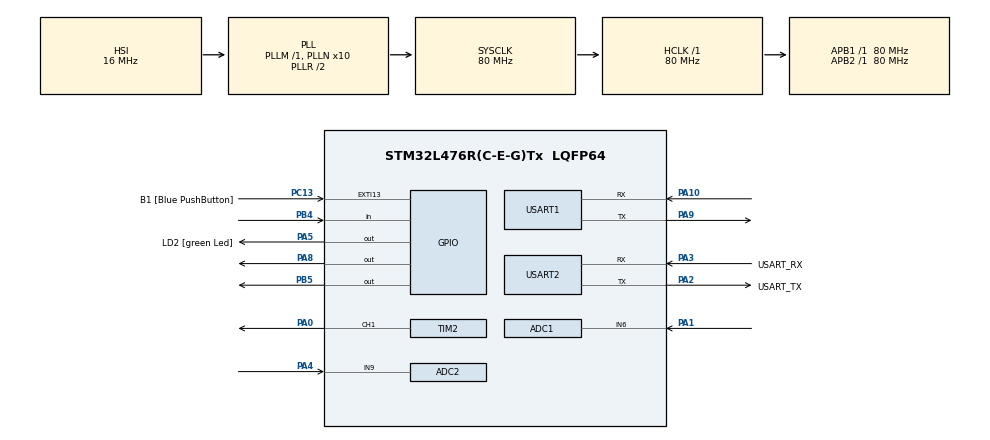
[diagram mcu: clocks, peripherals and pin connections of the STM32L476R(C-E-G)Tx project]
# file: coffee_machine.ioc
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ADC1.Channel-0\#ChannelRegularConversion=ADC_CHANNEL_6
ADC1.NbrOfConversionFlag=1
ADC1.OffsetNumber-0\#ChannelRegularConversion=ADC_OFFSET_NONE
ADC1.Rank-0\#ChannelRegularConversion=1
ADC1.SamplingTime-0\#ChannelRegularConversion=ADC_SAMPLETIME_2CYCLES_5
ADC1.master=1
ADC2.Channel-0\#ChannelRegularConversion=ADC_CHANNEL_9
ADC2.NbrOfConversionFlag=1
ADC2.OffsetNumber-0\#ChannelRegularConversion=ADC_OFFSET_NONE
ADC2.Rank-0\#ChannelRegularConversion=1
ADC2.SamplingTime-0\#ChannelRegularConversion=ADC_SAMPLETIME_2CYCLES_5
FREERTOS.Tasks01=defaultTask,0,128,StartDefaultTask,Default,NULL,Dynamic,NULL,NULL
FREERTOS.configUSE_NEWLIB_REENTRANT=1
Mcu.Family=STM32L4
Mcu.Name=STM32L476R(C-E-G)Tx
Mcu.Package=LQFP64
NVIC.ADC1_2_IRQn=true\:5\:0\:false\:false\:true\:true\:true\:true
NVIC.PriorityGroup=NVIC_PRIORITYGROUP_4
NVIC.TIM1_UP_TIM16_IRQn=true\:15\:0\:false\:false\:true\:false\:false\:true
NVIC.TIM3_IRQn=true\:5\:0\:false\:false\:true\:true\:true\:true
NVIC.TimeBase=TIM1_UP_TIM16_IRQn
NVIC.TimeBaseIP=TIM1
NVIC.USART1_IRQn=true\:5\:0\:false\:false\:true\:true\:true\:true
NVIC.USART2_IRQn=true\:5\:0\:false\:false\:true\:true\:true\:true
PA0.Signal=S_TIM2_CH1
PA1.Signal=ADCx_IN6
PA10.Mode=Asynchronous
PA10.Signal=USART1_RX
PA13\ (JTMS-SWDIO).GPIO_Label=TMS
PA13\ (JTMS-SWDIO).Mode=Serial_Wire
PA13\ (JTMS-SWDIO).Signal=SYS_JTMS-SWDIO
PA14\ (JTCK-SWCLK).GPIO_Label=TCK
PA14\ (JTCK-SWCLK).Mode=Serial_Wire
PA14\ (JTCK-SWCLK).Signal=SYS_JTCK-SWCLK
PA2.GPIO_Label=USART_TX
PA2.GPIO_Mode=GPIO_MODE_AF_PP
PA2.GPIO_PuPd=GPIO_NOPULL
PA2.GPIO_Speed=GPIO_SPEED_FREQ_VERY_HIGH
PA2.Mode=Asynchronous
PA2.Signal=USART2_TX
PA3.GPIO_Label=USART_RX
PA3.GPIO_Mode=GPIO_MODE_AF_PP
PA3.GPIO_PuPd=GPIO_NOPULL
PA3.GPIO_Speed=GPIO_SPEED_FREQ_VERY_HIGH
PA3.Mode=Asynchronous
PA3.Signal=USART2_RX
PA4.Signal=ADCx_IN9
PA5.GPIO_Label=LD2 [green Led]
PA5.GPIO_ModeDefaultOutputPP=GPIO_MODE_OUTPUT_PP
PA5.GPIO_PuPd=GPIO_NOPULL
PA5.GPIO_Speed=GPIO_SPEED_FREQ_LOW
PA5.Signal=GPIO_Output
PA8.Signal=GPIO_Output
PA9.Mode=Asynchronous
PA9.Signal=USART1_TX
PB3\ (JTDO-TRACESWO).GPIO_Label=SWO
PB3\ (JTDO-TRACESWO).Signal=SYS_JTDO-SWO
PB4\ (NJTRST).Signal=GPIO_Input
PB5.Signal=GPIO_Output
PC13.GPIO_Label=B1 [Blue PushButton]
PC13.GPIO_ModeDefaultEXTI=GPIO_MODE_IT_FALLING
PC13.GPIO_PuPd=GPIO_NOPULL
PC13.Signal=GPXTI13
PC14-OSC32_IN\ (PC14).Mode=LSE-External-Oscillator
PC14-OSC32_IN\ (PC14).Signal=RCC_OSC32_IN
PC15-OSC32_OUT\ (PC15).Mode=LSE-External-Oscillator
PC15-OSC32_OUT\ (PC15).Signal=RCC_OSC32_OUT
PH0-OSC_IN\ (PH0).Signal=RCC_OSC_IN
PH1-OSC_OUT\ (PH1).Signal=RCC_OSC_OUT
ProjectManager.HeapSize=0x200
ProjectManager.StackSize=0x400
ProjectManager.TargetToolchain=STM32CubeIDE
RCC.ADCFreq_Value=64000000
RCC.AHBFreq_Value=80000000
RCC.APB1Freq_Value=80000000
RCC.APB1TimFreq_Value=80000000
RCC.APB2Freq_Value=80000000
RCC.APB2TimFreq_Value=80000000
RCC.CortexFreq_Value=80000000
RCC.HCLKFreq_Value=80000000
RCC.HSE_VALUE=8000000
RCC.HSI_VALUE=16000000
RCC.MSI_VALUE=4000000
RCC.PLLN=10
RCC.PLLSourceVirtual=RCC_PLLSOURCE_HSI
RCC.PREFETCH_ENABLE=1
RCC.SYSCLKFreq_VALUE=80000000
RCC.SYSCLKSource=RCC_SYSCLKSOURCE_PLLCLK
RCC.USBFreq_Value=64000000
RCC.VCOOutputFreq_Value=160000000
SH.ADCx_IN6.0=ADC1_IN6,IN6-Single-Ended
SH.ADCx_IN9.0=ADC2_IN9,IN9-Single-Ended
SH.S_TIM2_CH1.0=TIM2_CH1,PWM Generation1 CH1
TIM2.Channel-PWM\ Generation1\ CH1=TIM_CHANNEL_1
TIM2.Period=2000-1
TIM2.Prescaler=127-1
TIM3.Period=20000-1
TIM3.Prescaler=400-1
USART1.VirtualMode-Asynchronous=VM_ASYNC
USART2.VirtualMode-Asynchronous=VM_ASYNC
VP_FREERTOS_VS_CMSIS_V1.Mode=CMSIS_V1
VP_SYS_VS_tim1.Mode=TIM1
VP_TIM2_VS_ClockSourceINT.Mode=Internal
VP_TIM3_VS_ClockSourceINT.Mode=Internal
board=NUCLEO-L476RG

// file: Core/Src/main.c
/* USER CODE BEGIN Header */
/**
  ******************************************************************************
  * @file           : main.c
  * @brief          : Main program body
  ******************************************************************************
  * @attention
  *
  * <h2><center>&copy; Copyright (c) 2022 STMicroelectronics.
  * All rights reserved.</center></h2>
  *
  * This software component is licensed by ST under BSD 3-Clause license,
  * the "License"; You may not use this file except in compliance with the
  * License. You may obtain a copy of the License at:
  *                        opensource.org/licenses/BSD-3-Clause
  *
  ******************************************************************************
  */
/* USER CODE END Header */
#include "main.h"
#include "cmsis_os.h"

/* USER CODE BEGIN PD */
#define TX_QUEUE_SIZE 128
#define RX_QUEUE_SIZE 5
#define USART_1 1
#define USART_2 2
#define MAX_TEMPERATURE 100
#define MAX_INTENSITY 1200
#define EXP_CONST 0.3
#define MAX_VOLTAGE 4095
/* USER CODE END PD */

ADC_HandleTypeDef hadc1;
ADC_HandleTypeDef hadc2;

TIM_HandleTypeDef htim2;
TIM_HandleTypeDef htim3;

osThreadId defaultTaskHandle;
/* USER CODE BEGIN PV */
QueueHandle_t tx_queue_1;
QueueHandle_t rx_queue_1;
QueueHandle_t tx_queue_2;
QueueHandle_t rx_queue_2;
SemaphoreHandle_t uart_1_mutex = NULL;
SemaphoreHandle_t uart_2_mutex = NULL;
/* USER CODE END PV */

void SystemClock_Config(void);
void PeriphCommonClock_Config(void);
static void MX_GPIO_Init(void);
static void MX_USART2_UART_Init(void);
static void MX_USART1_UART_Init(void);
static void MX_TIM2_Init(void);
static void MX_TIM3_Init(void);
static void MX_ADC1_Init(void);
static void MX_ADC2_Init(void);
void StartDefaultTask(void const * argument);

/* USER CODE BEGIN PFP */
void user_pwm_setvalue(uint16_t value);
/* USER CODE END PFP */

/* USER CODE BEGIN 0 */
//Rotina de trtaamento da ISR da UART 1
void USART_1_IRQHandler(void) {
	//Se for interrupcao de transmissao
	if (LL_USART_IsActiveFlag_TXE(USART1)) {
		BaseType_t contextSwitch;
		while (LL_USART_IsActiveFlag_TXE(USART1)) {
			uint8_t byte;
			//Desinfileira um byte para tranmistir
			if (xQueueReceiveFromISR(tx_queue_1, &byte,
					&contextSwitch) == pdFAIL) {
				//Se a fila de transmissao esta vazia, encerra a transmissao
				LL_USART_DisableIT_TXE(USART1);
				break;
			}
			//Envia o byte retirado da fila de transmisao
			LL_USART_TransmitData8(USART1, byte);
		}
		portYIELD_FROM_ISR(contextSwitch);
	}
	//Se for interrupcao de recepcao
	if (LL_USART_IsActiveFlag_RXNE(USART1)) {
		BaseType_t contextSwitch;
		while (LL_USART_IsActiveFlag_RXNE(USART1)) {
			//Copia o byte do regstrador de recepcao
			uint8_t byte = LL_USART_ReceiveData8(USART1);
			//Enfileira o byte recebido na fila de recepcao
			xQueueSendFromISR(rx_queue_1, &byte, &contextSwitch);
			// xQueueSendFromISR can return errQUEUE_FULL
		}
		portYIELD_FROM_ISR(contextSwitch);
	}
}

//Rotina de tratamento de interrupcao da USART2
void USART_2_IRQHandler(void) {
	//Se for interrupcao de transmissao
	if (LL_USART_IsActiveFlag_TXE(USART2)) {
		BaseType_t contextSwitch;
		while (LL_USART_IsActiveFlag_TXE(USART2)) {
			uint8_t byte;
			//Desinfileira um byte para tranmistir
			if (xQueueReceiveFromISR(tx_queue_2, &byte,
					&contextSwitch) == pdFAIL) {
				//Se a fila de transmissao esta vazia, encerra a transmissao
				LL_USART_DisableIT_TXE(USART2);
				break;
			}
			//Envia o byte retirado da fila de transmisao
			LL_USART_TransmitData8(USART2, byte);
		}
		portYIELD_FROM_ISR(contextSwitch);
	}
	//Se for interrupcao de recepcao
	if (LL_USART_IsActiveFlag_RXNE(USART2)) {
		BaseType_t contextSwitch;
		while (LL_USART_IsActiveFlag_RXNE(USART2)) {
			//Copia o byte do regstrador de recepcao
			uint8_t byte = LL_USART_ReceiveData8(USART2);
			//Enfileira o byte recebido na fila de recepcao
			xQueueSendFromISR(rx_queue_2, &byte, &contextSwitch);
			// xQueueSendFromISR can return errQUEUE_FULL
		}
		portYIELD_FROM_ISR(contextSwitch);
	}
}

void sendchar(char c, char usart) {
	if (usart == USART_1) {
		xQueueSend(tx_queue_1, &c, HAL_MAX_DELAY);
		LL_USART_EnableIT_TXE(USART1);
	} else if (usart == USART_2) {
		xQueueSend(tx_queue_2, &c, HAL_MAX_DELAY);
		LL_USART_EnableIT_TXE(USART2);
	}
}
void sendString(char *str, char usart) {
	while (*str != 0) {
		sendchar(*str, usart);
		str++;
	}
}

char readchar(char usart) {
	uint8_t caracter = 0;
	if (usart == USART_1)
		xQueueReceive(rx_queue_1, &caracter, HAL_MAX_DELAY);
	else if (usart == USART_2)
		xQueueReceive(rx_queue_2, &caracter, HAL_MAX_DELAY);
	return caracter;
}

int16_t readVoltageLdr(void) {
	HAL_ADC_Start(&hadc1);
	HAL_ADC_PollForConversion(&hadc1, HAL_MAX_DELAY);
	return HAL_ADC_GetValue(&hadc1);
}

int16_t readVoltagePotenciometro(void) {
	HAL_ADC_Start(&hadc2);
	HAL_ADC_PollForConversion(&hadc2, HAL_MAX_DELAY);
	return HAL_ADC_GetValue(&hadc2);
}

void piscarLed (void) {
	HAL_TIM_Base_Start_IT(&htim3);
	HAL_Delay(10000);
	HAL_TIM_Base_Stop_IT(&htim3);
	HAL_GPIO_WritePin(GPIOB, GPIO_PIN_5, GPIO_PIN_RESET);
}

void ldr(void *vParam) {
	while (1) {
		int intensity = readVoltageLdr() * MAX_INTENSITY / MAX_VOLTAGE;
		intensity = MAX_INTENSITY - (pow(intensity, EXP_CONST) / pow(MAX_INTENSITY, EXP_CONST - 1));
//		int intensity = MAX_INTENSITY - (readVoltageLdr() * MAX_INTENSITY / MAX_VOLTAGE);
		user_pwm_setvalue(intensity);
		vTaskDelay(100);
	}
}

void potenciometro(void *vParam) {
	while (1) {
		char str[8];
		if (!HAL_GPIO_ReadPin(GPIOB, GPIO_PIN_4)) {
			int temperature = MAX_TEMPERATURE - (readVoltagePotenciometro() * MAX_TEMPERATURE / MAX_VOLTAGE);
			sprintf(str, "%d\r\n", temperature);
			sendString(str, USART_1);
			sendString(str, USART_2);
			if (temperature >= 75) {
				// Pisca luz por 3 segundos
				piscarLed();
			} else {
				// Liga luz por 2 segundos
				HAL_GPIO_WritePin(GPIOA, GPIO_PIN_8, GPIO_PIN_SET);
				vTaskDelay(2000);
				HAL_GPIO_WritePin(GPIOA, GPIO_PIN_8, GPIO_PIN_RESET);
			}
		}
	}
}

//void cli(void *vParam) {
//	uint8_t ch;
//	while (1) {
//		ch = readchar(USART_1);
//	}
//}
/* USER CODE END 0 */

int main(void)
{

  /* MCU Configuration--------------------------------------------------------*/

  /* Reset of all peripherals, Initializes the Flash interface and the Systick. */
  HAL_Init();

  /* Configure the system clock */
  SystemClock_Config();

/* Configure the peripherals common clocks */
  PeriphCommonClock_Config();

  /* Initialize all configured peripherals */
  MX_GPIO_Init();
  MX_USART2_UART_Init();
  MX_USART1_UART_Init();
  MX_TIM2_Init();
  MX_TIM3_Init();
  MX_ADC1_Init();
  MX_ADC2_Init();
  /* USER CODE BEGIN 2 */
  uart_1_mutex = xSemaphoreCreateMutex();
  uart_2_mutex = xSemaphoreCreateMutex();
  /* USER CODE END 2 */

  /* Create the thread(s) */
  /* definition and creation of defaultTask */
  osThreadDef(defaultTask, StartDefaultTask, osPriorityNormal, 0, 128);
  defaultTaskHandle = osThreadCreate(osThread(defaultTask), NULL);

  /* USER CODE BEGIN RTOS_THREADS */
  /* add threads, ... */
  //xTaskCreate(cli, "cli", configMINIMAL_STACK_SIZE, NULL, 1 , NULL);
  xTaskCreate(potenciometro, "potenciometro", configMINIMAL_STACK_SIZE, NULL, 1 , NULL);
  xTaskCreate(ldr, "ldr", configMINIMAL_STACK_SIZE, NULL, 1 , NULL);
  /* USER CODE END RTOS_THREADS */

  /* Start scheduler */
  osKernelStart();

  /* We should never get here as control is now taken by the scheduler */
  /* Infinite loop */
  while (1)
  {

  }
}

void SystemClock_Config(void)
{
  RCC_OscInitTypeDef RCC_OscInitStruct = {0};
  RCC_ClkInitTypeDef RCC_ClkInitStruct = {0};

  /** Configure the main internal regulator output voltage
  */
  if (HAL_PWREx_ControlVoltageScaling(PWR_REGULATOR_VOLTAGE_SCALE1) != HAL_OK)
  {
    Error_Handler();
  }
  /** Initializes the RCC Oscillators according to the specified parameters
  * in the RCC_OscInitTypeDef structure.
  */
  RCC_OscInitStruct.OscillatorType = RCC_OSCILLATORTYPE_HSI;
  RCC_OscInitStruct.HSIState = RCC_HSI_ON;
  RCC_OscInitStruct.HSICalibrationValue = RCC_HSICALIBRATION_DEFAULT;
  RCC_OscInitStruct.PLL.PLLState = RCC_PLL_ON;
  RCC_OscInitStruct.PLL.PLLSource = RCC_PLLSOURCE_HSI;
  RCC_OscInitStruct.PLL.PLLM = 1;
  RCC_OscInitStruct.PLL.PLLN = 10;
  RCC_OscInitStruct.PLL.PLLP = RCC_PLLP_DIV7;
  RCC_OscInitStruct.PLL.PLLQ = RCC_PLLQ_DIV2;
  RCC_OscInitStruct.PLL.PLLR = RCC_PLLR_DIV2;
  if (HAL_RCC_OscConfig(&RCC_OscInitStruct) != HAL_OK)
  {
    Error_Handler();
  }
  /** Initializes the CPU, AHB and APB buses clocks
  */
  RCC_ClkInitStruct.ClockType = RCC_CLOCKTYPE_HCLK|RCC_CLOCKTYPE_SYSCLK
                              |RCC_CLOCKTYPE_PCLK1|RCC_CLOCKTYPE_PCLK2;
  RCC_ClkInitStruct.SYSCLKSource = RCC_SYSCLKSOURCE_PLLCLK;
  RCC_ClkInitStruct.AHBCLKDivider = RCC_SYSCLK_DIV1;
  RCC_ClkInitStruct.APB1CLKDivider = RCC_HCLK_DIV1;
  RCC_ClkInitStruct.APB2CLKDivider = RCC_HCLK_DIV1;

  if (HAL_RCC_ClockConfig(&RCC_ClkInitStruct, FLASH_LATENCY_4) != HAL_OK)
  {
    Error_Handler();
  }
}

void PeriphCommonClock_Config(void)
{
  RCC_PeriphCLKInitTypeDef PeriphClkInit = {0};

  /** Initializes the peripherals clock
  */
  PeriphClkInit.PeriphClockSelection = RCC_PERIPHCLK_ADC;
  PeriphClkInit.AdcClockSelection = RCC_ADCCLKSOURCE_PLLSAI1;
  PeriphClkInit.PLLSAI1.PLLSAI1Source = RCC_PLLSOURCE_HSI;
  PeriphClkInit.PLLSAI1.PLLSAI1M = 1;
  PeriphClkInit.PLLSAI1.PLLSAI1N = 8;
  PeriphClkInit.PLLSAI1.PLLSAI1P = RCC_PLLP_DIV7;
  PeriphClkInit.PLLSAI1.PLLSAI1Q = RCC_PLLQ_DIV2;
  PeriphClkInit.PLLSAI1.PLLSAI1R = RCC_PLLR_DIV2;
  PeriphClkInit.PLLSAI1.PLLSAI1ClockOut = RCC_PLLSAI1_ADC1CLK;
  if (HAL_RCCEx_PeriphCLKConfig(&PeriphClkInit) != HAL_OK)
  {
    Error_Handler();
  }
}

static void MX_ADC1_Init(void)
{

  ADC_MultiModeTypeDef multimode = {0};
  ADC_ChannelConfTypeDef sConfig = {0};

  /** Common config
  */
  hadc1.Instance = ADC1;
  hadc1.Init.ClockPrescaler = ADC_CLOCK_ASYNC_DIV1;
  hadc1.Init.Resolution = ADC_RESOLUTION_12B;
  hadc1.Init.DataAlign = ADC_DATAALIGN_RIGHT;
  hadc1.Init.ScanConvMode = ADC_SCAN_DISABLE;
  hadc1.Init.EOCSelection = ADC_EOC_SINGLE_CONV;
  hadc1.Init.LowPowerAutoWait = DISABLE;
  hadc1.Init.ContinuousConvMode = DISABLE;
  hadc1.Init.NbrOfConversion = 1;
  hadc1.Init.DiscontinuousConvMode = DISABLE;
  hadc1.Init.ExternalTrigConv = ADC_SOFTWARE_START;
  hadc1.Init.ExternalTrigConvEdge = ADC_EXTERNALTRIGCONVEDGE_NONE;
  hadc1.Init.DMAContinuousRequests = DISABLE;
  hadc1.Init.Overrun = ADC_OVR_DATA_PRESERVED;
  hadc1.Init.OversamplingMode = DISABLE;
  if (HAL_ADC_Init(&hadc1) != HAL_OK)
  {
    Error_Handler();
  }
  /** Configure the ADC multi-mode
  */
  multimode.Mode = ADC_MODE_INDEPENDENT;
  if (HAL_ADCEx_MultiModeConfigChannel(&hadc1, &multimode) != HAL_OK)
  {
    Error_Handler();
  }
  /** Configure Regular Channel
  */
  sConfig.Channel = ADC_CHANNEL_6;
  sConfig.Rank = ADC_REGULAR_RANK_1;
  sConfig.SamplingTime = ADC_SAMPLETIME_2CYCLES_5;
  sConfig.SingleDiff = ADC_SINGLE_ENDED;
  sConfig.OffsetNumber = ADC_OFFSET_NONE;
  sConfig.Offset = 0;
  if (HAL_ADC_ConfigChannel(&hadc1, &sConfig) != HAL_OK)
  {
    Error_Handler();
  }

}

static void MX_ADC2_Init(void)
{

  ADC_ChannelConfTypeDef sConfig = {0};

  /** Common config
  */
  hadc2.Instance = ADC2;
  hadc2.Init.ClockPrescaler = ADC_CLOCK_ASYNC_DIV1;
  hadc2.Init.Resolution = ADC_RESOLUTION_12B;
  hadc2.Init.DataAlign = ADC_DATAALIGN_RIGHT;
  hadc2.Init.ScanConvMode = ADC_SCAN_DISABLE;
  hadc2.Init.EOCSelection = ADC_EOC_SINGLE_CONV;
  hadc2.Init.LowPowerAutoWait = DISABLE;
  hadc2.Init.ContinuousConvMode = DISABLE;
  hadc2.Init.NbrOfConversion = 1;
  hadc2.Init.DiscontinuousConvMode = DISABLE;
  hadc2.Init.ExternalTrigConv = ADC_SOFTWARE_START;
  hadc2.Init.ExternalTrigConvEdge = ADC_EXTERNALTRIGCONVEDGE_NONE;
  hadc2.Init.DMAContinuousRequests = DISABLE;
  hadc2.Init.Overrun = ADC_OVR_DATA_PRESERVED;
  hadc2.Init.OversamplingMode = DISABLE;
  if (HAL_ADC_Init(&hadc2) != HAL_OK)
  {
    Error_Handler();
  }
  /** Configure Regular Channel
  */
  sConfig.Channel = ADC_CHANNEL_9;
  sConfig.Rank = ADC_REGULAR_RANK_1;
  sConfig.SamplingTime = ADC_SAMPLETIME_2CYCLES_5;
  sConfig.SingleDiff = ADC_SINGLE_ENDED;
  sConfig.OffsetNumber = ADC_OFFSET_NONE;
  sConfig.Offset = 0;
  if (HAL_ADC_ConfigChannel(&hadc2, &sConfig) != HAL_OK)
  {
    Error_Handler();
  }

}

static void MX_TIM2_Init(void)
{

  TIM_ClockConfigTypeDef sClockSourceConfig = {0};
  TIM_MasterConfigTypeDef sMasterConfig = {0};
  TIM_OC_InitTypeDef sConfigOC = {0};

  htim2.Instance = TIM2;
  htim2.Init.Prescaler = 127-1;
  htim2.Init.CounterMode = TIM_COUNTERMODE_UP;
  htim2.Init.Period = 2000-1;
  htim2.Init.ClockDivision = TIM_CLOCKDIVISION_DIV1;
  htim2.Init.AutoReloadPreload = TIM_AUTORELOAD_PRELOAD_DISABLE;
  if (HAL_TIM_Base_Init(&htim2) != HAL_OK)
  {
    Error_Handler();
  }
  sClockSourceConfig.ClockSource = TIM_CLOCKSOURCE_INTERNAL;
  if (HAL_TIM_ConfigClockSource(&htim2, &sClockSourceConfig) != HAL_OK)
  {
    Error_Handler();
  }
  if (HAL_TIM_PWM_Init(&htim2) != HAL_OK)
  {
    Error_Handler();
  }
  sMasterConfig.MasterOutputTrigger = TIM_TRGO_RESET;
  sMasterConfig.MasterSlaveMode = TIM_MASTERSLAVEMODE_DISABLE;
  if (HAL_TIMEx_MasterConfigSynchronization(&htim2, &sMasterConfig) != HAL_OK)
  {
    Error_Handler();
  }
  sConfigOC.OCMode = TIM_OCMODE_PWM1;
  sConfigOC.Pulse = 0;
  sConfigOC.OCPolarity = TIM_OCPOLARITY_HIGH;
  sConfigOC.OCFastMode = TIM_OCFAST_DISABLE;
  if (HAL_TIM_PWM_ConfigChannel(&htim2, &sConfigOC, TIM_CHANNEL_1) != HAL_OK)
  {
    Error_Handler();
  }
  HAL_TIM_MspPostInit(&htim2);

}

static void MX_TIM3_Init(void)
{

  TIM_ClockConfigTypeDef sClockSourceConfig = {0};
  TIM_MasterConfigTypeDef sMasterConfig = {0};

  htim3.Instance = TIM3;
  htim3.Init.Prescaler = 400-1;
  htim3.Init.CounterMode = TIM_COUNTERMODE_UP;
  htim3.Init.Period = 20000-1;
  htim3.Init.ClockDivision = TIM_CLOCKDIVISION_DIV1;
  htim3.Init.AutoReloadPreload = TIM_AUTORELOAD_PRELOAD_DISABLE;
  if (HAL_TIM_Base_Init(&htim3) != HAL_OK)
  {
    Error_Handler();
  }
  sClockSourceConfig.ClockSource = TIM_CLOCKSOURCE_INTERNAL;
  if (HAL_TIM_ConfigClockSource(&htim3, &sClockSourceConfig) != HAL_OK)
  {
    Error_Handler();
  }
  sMasterConfig.MasterOutputTrigger = TIM_TRGO_RESET;
  sMasterConfig.MasterSlaveMode = TIM_MASTERSLAVEMODE_DISABLE;
  if (HAL_TIMEx_MasterConfigSynchronization(&htim3, &sMasterConfig) != HAL_OK)
  {
    Error_Handler();
  }

}

static void MX_USART1_UART_Init(void)
{

  LL_USART_InitTypeDef USART_InitStruct = {0};

  LL_GPIO_InitTypeDef GPIO_InitStruct = {0};
  RCC_PeriphCLKInitTypeDef PeriphClkInit = {0};

  /** Initializes the peripherals clock
  */
  PeriphClkInit.PeriphClockSelection = RCC_PERIPHCLK_USART1;
  PeriphClkInit.Usart1ClockSelection = RCC_USART1CLKSOURCE_PCLK2;
  if (HAL_RCCEx_PeriphCLKConfig(&PeriphClkInit) != HAL_OK)
  {
    Error_Handler();
  }

  /* Peripheral clock enable */
  LL_APB2_GRP1_EnableClock(LL_APB2_GRP1_PERIPH_USART1);

  LL_AHB2_GRP1_EnableClock(LL_AHB2_GRP1_PERIPH_GPIOA);
  /**USART1 GPIO Configuration
  PA9   ------> USART1_TX
  PA10   ------> USART1_RX
  */
  GPIO_InitStruct.Pin = LL_GPIO_PIN_9|LL_GPIO_PIN_10;
  GPIO_InitStruct.Mode = LL_GPIO_MODE_ALTERNATE;
  GPIO_InitStruct.Speed = LL_GPIO_SPEED_FREQ_VERY_HIGH;
  GPIO_InitStruct.OutputType = LL_GPIO_OUTPUT_PUSHPULL;
  GPIO_InitStruct.Pull = LL_GPIO_PULL_NO;
  GPIO_InitStruct.Alternate = LL_GPIO_AF_7;
  LL_GPIO_Init(GPIOA, &GPIO_InitStruct);

  /* USART1 interrupt Init */
  NVIC_SetPriority(USART1_IRQn, NVIC_EncodePriority(NVIC_GetPriorityGrouping(),5, 0));
  NVIC_EnableIRQ(USART1_IRQn);

  USART_InitStruct.BaudRate = 115200;
  USART_InitStruct.DataWidth = LL_USART_DATAWIDTH_8B;
  USART_InitStruct.StopBits = LL_USART_STOPBITS_1;
  USART_InitStruct.Parity = LL_USART_PARITY_NONE;
  USART_InitStruct.TransferDirection = LL_USART_DIRECTION_TX_RX;
  USART_InitStruct.HardwareFlowControl = LL_USART_HWCONTROL_NONE;
  USART_InitStruct.OverSampling = LL_USART_OVERSAMPLING_16;
  LL_USART_Init(USART1, &USART_InitStruct);
  LL_USART_ConfigAsyncMode(USART1);
  LL_USART_Enable(USART1);
  /* USER CODE BEGIN USART1_Init 2 */
  //Inicializa as filas de transmissao e recepcao
	tx_queue_1 = xQueueCreate(TX_QUEUE_SIZE, sizeof(uint8_t));
	rx_queue_1 = xQueueCreate(RX_QUEUE_SIZE, sizeof(uint8_t));
	//Habilita a interrupcao de recepcao pela USART2
	LL_USART_EnableIT_RXNE(USART1);
  /* USER CODE END USART1_Init 2 */

}

static void MX_USART2_UART_Init(void)
{

  LL_USART_InitTypeDef USART_InitStruct = {0};

  LL_GPIO_InitTypeDef GPIO_InitStruct = {0};
  RCC_PeriphCLKInitTypeDef PeriphClkInit = {0};

  /** Initializes the peripherals clock
  */
  PeriphClkInit.PeriphClockSelection = RCC_PERIPHCLK_USART2;
  PeriphClkInit.Usart2ClockSelection = RCC_USART2CLKSOURCE_PCLK1;
  if (HAL_RCCEx_PeriphCLKConfig(&PeriphClkInit) != HAL_OK)
  {
    Error_Handler();
  }

  /* Peripheral clock enable */
  LL_APB1_GRP1_EnableClock(LL_APB1_GRP1_PERIPH_USART2);

  LL_AHB2_GRP1_EnableClock(LL_AHB2_GRP1_PERIPH_GPIOA);
  /**USART2 GPIO Configuration
  PA2   ------> USART2_TX
  PA3   ------> USART2_RX
  */
  GPIO_InitStruct.Pin = LL_GPIO_PIN_2|LL_GPIO_PIN_3;
  GPIO_InitStruct.Mode = LL_GPIO_MODE_ALTERNATE;
  GPIO_InitStruct.Speed = LL_GPIO_SPEED_FREQ_VERY_HIGH;
  GPIO_InitStruct.OutputType = LL_GPIO_OUTPUT_PUSHPULL;
  GPIO_InitStruct.Pull = LL_GPIO_PULL_NO;
  GPIO_InitStruct.Alternate = LL_GPIO_AF_7;
  LL_GPIO_Init(GPIOA, &GPIO_InitStruct);

  /* USART2 interrupt Init */
  NVIC_SetPriority(USART2_IRQn, NVIC_EncodePriority(NVIC_GetPriorityGrouping(),5, 0));
  NVIC_EnableIRQ(USART2_IRQn);

  USART_InitStruct.BaudRate = 115200;
  USART_InitStruct.DataWidth = LL_USART_DATAWIDTH_8B;
  USART_InitStruct.StopBits = LL_USART_STOPBITS_1;
  USART_InitStruct.Parity = LL_USART_PARITY_NONE;
  USART_InitStruct.TransferDirection = LL_USART_DIRECTION_TX_RX;
  USART_InitStruct.HardwareFlowControl = LL_USART_HWCONTROL_NONE;
  USART_InitStruct.OverSampling = LL_USART_OVERSAMPLING_16;
  LL_USART_Init(USART2, &USART_InitStruct);
  LL_USART_ConfigAsyncMode(USART2);
  LL_USART_Enable(USART2);
  /* USER CODE BEGIN USART2_Init 2 */
  //Inicializa as filas de transmissao e recepcao
    tx_queue_2 = xQueueCreate(TX_QUEUE_SIZE, sizeof(uint8_t));
    rx_queue_2 = xQueueCreate(RX_QUEUE_SIZE, sizeof(uint8_t));
    //Habilita a interrupcao de recepcao pela USART2
    LL_USART_EnableIT_RXNE(USART2);
  /* USER CODE END USART2_Init 2 */

}

static void MX_GPIO_Init(void)
{
  GPIO_InitTypeDef GPIO_InitStruct = {0};

  /* GPIO Ports Clock Enable */
  __HAL_RCC_GPIOC_CLK_ENABLE();
  __HAL_RCC_GPIOH_CLK_ENABLE();
  __HAL_RCC_GPIOA_CLK_ENABLE();
  __HAL_RCC_GPIOB_CLK_ENABLE();

  /*Configure GPIO pin Output Level */
  HAL_GPIO_WritePin(GPIOA, LD2_Pin|GPIO_PIN_8, GPIO_PIN_RESET);

  /*Configure GPIO pin Output Level */
  HAL_GPIO_WritePin(GPIOB, GPIO_PIN_5, GPIO_PIN_RESET);

  /*Configure GPIO pin : B1_Pin */
  GPIO_InitStruct.Pin = B1_Pin;
  GPIO_InitStruct.Mode = GPIO_MODE_IT_FALLING;
  GPIO_InitStruct.Pull = GPIO_NOPULL;
  HAL_GPIO_Init(B1_GPIO_Port, &GPIO_InitStruct);

  /*Configure GPIO pins : LD2_Pin PA8 */
  GPIO_InitStruct.Pin = LD2_Pin|GPIO_PIN_8;
  GPIO_InitStruct.Mode = GPIO_MODE_OUTPUT_PP;
  GPIO_InitStruct.Pull = GPIO_NOPULL;
  GPIO_InitStruct.Speed = GPIO_SPEED_FREQ_LOW;
  HAL_GPIO_Init(GPIOA, &GPIO_InitStruct);

  /*Configure GPIO pin : PB4 */
  GPIO_InitStruct.Pin = GPIO_PIN_4;
  GPIO_InitStruct.Mode = GPIO_MODE_INPUT;
  GPIO_InitStruct.Pull = GPIO_NOPULL;
  HAL_GPIO_Init(GPIOB, &GPIO_InitStruct);

  /*Configure GPIO pin : PB5 */
  GPIO_InitStruct.Pin = GPIO_PIN_5;
  GPIO_InitStruct.Mode = GPIO_MODE_OUTPUT_PP;
  GPIO_InitStruct.Pull = GPIO_NOPULL;
  GPIO_InitStruct.Speed = GPIO_SPEED_FREQ_LOW;
  HAL_GPIO_Init(GPIOB, &GPIO_InitStruct);

}

/* USER CODE BEGIN 4 */
void user_pwm_setvalue(uint16_t value)
{
   HAL_TIM_PWM_Stop(&htim2, TIM_CHANNEL_1);
   TIM_OC_InitTypeDef sConfigOC;

    sConfigOC.OCMode = TIM_OCMODE_PWM1;
    sConfigOC.Pulse = value;
    sConfigOC.OCPolarity = TIM_OCPOLARITY_HIGH;
    sConfigOC.OCFastMode = TIM_OCFAST_DISABLE;
    HAL_TIM_PWM_ConfigChannel(&htim2, &sConfigOC, TIM_CHANNEL_1);
    HAL_TIM_PWM_Start(&htim2, TIM_CHANNEL_1);
}
/* USER CODE END 4 */

void StartDefaultTask(void const * argument)
{
  for(;;)
  {
    osDelay(1);
  }
}

void HAL_TIM_PeriodElapsedCallback(TIM_HandleTypeDef *htim)
{
  if (htim->Instance == TIM1) {
    HAL_IncTick();
  }
  /* USER CODE BEGIN Callback 1 */
  if (htim->Instance == htim3.Instance) {
  	  HAL_GPIO_TogglePin(GPIOB, GPIO_PIN_5);
  }
  /* USER CODE END Callback 1 */
}

void Error_Handler(void)
{
  __disable_irq();
  while (1)
  {
  }
}

/************************ (C) COPYRIGHT STMicroelectronics *****END OF FILE****/
